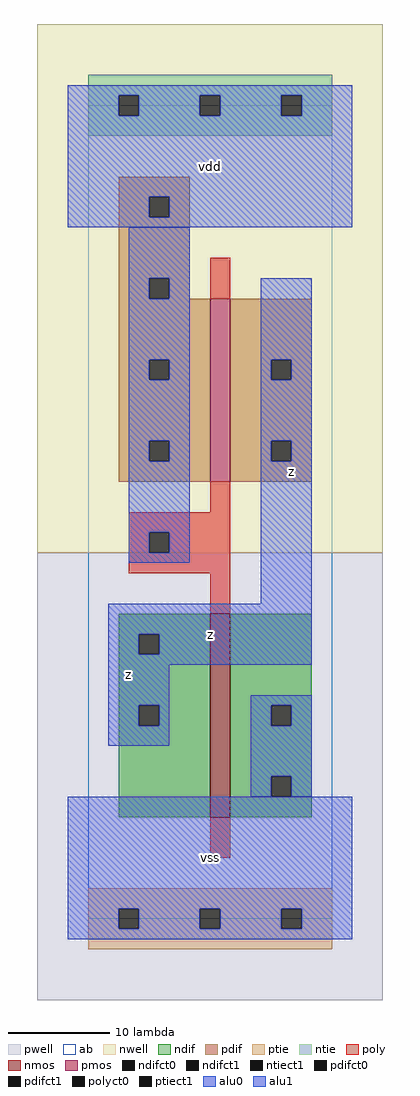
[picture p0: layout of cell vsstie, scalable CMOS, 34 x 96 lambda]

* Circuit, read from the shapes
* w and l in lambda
.subckt vsstie vdd vss z
M1 vss vdd z vss nfet w=20 l=2
M2 z vdd vdd vdd pfet w=18 l=2
.ends

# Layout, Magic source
magic
tech scmos
<< ab >>
rect 0 0 24 80
<< nwell >>
rect -5 36 29 88
<< pwell >>
rect -5 -8 29 36
<< poly >>
rect 12 61 14 65
rect 12 40 14 43
rect 4 38 14 40
rect 4 36 6 38
rect 8 36 14 38
rect 4 34 14 36
rect 12 30 14 34
rect 12 6 14 10
<< ndif >>
rect 3 28 12 30
rect 3 26 5 28
rect 7 26 12 28
rect 3 21 12 26
rect 3 19 5 21
rect 7 19 12 21
rect 3 10 12 19
rect 14 21 22 30
rect 14 19 18 21
rect 20 19 22 21
rect 14 14 22 19
rect 14 12 18 14
rect 20 12 22 14
rect 14 10 22 12
<< pdif >>
rect 3 71 10 73
rect 3 69 6 71
rect 8 69 10 71
rect 3 63 10 69
rect 3 61 6 63
rect 8 61 10 63
rect 3 55 12 61
rect 3 53 6 55
rect 8 53 12 55
rect 3 47 12 53
rect 3 45 6 47
rect 8 45 12 47
rect 3 43 12 45
rect 14 55 22 61
rect 14 53 18 55
rect 20 53 22 55
rect 14 47 22 53
rect 14 45 18 47
rect 20 45 22 47
rect 14 43 22 45
<< alu1 >>
rect -2 81 26 82
rect -2 79 3 81
rect 5 79 11 81
rect 13 79 19 81
rect 21 79 26 81
rect -2 71 26 79
rect -2 69 6 71
rect 8 69 26 71
rect -2 68 26 69
rect 17 55 22 63
rect 17 53 18 55
rect 20 53 22 55
rect 17 47 22 53
rect 17 45 18 47
rect 20 45 22 47
rect 17 31 22 45
rect 2 28 22 31
rect 2 26 5 28
rect 7 26 22 28
rect 2 25 22 26
rect 2 21 8 25
rect 2 19 5 21
rect 7 19 8 21
rect 2 17 8 19
rect -2 1 26 12
rect -2 -1 3 1
rect 5 -1 11 1
rect 13 -1 19 1
rect 21 -1 26 1
rect -2 -2 26 -1
<< ptie >>
rect 0 1 24 3
rect 0 -1 3 1
rect 5 -1 11 1
rect 13 -1 19 1
rect 21 -1 24 1
rect 0 -3 24 -1
<< ntie >>
rect 0 81 24 83
rect 0 79 3 81
rect 5 79 11 81
rect 13 79 19 81
rect 21 79 24 81
rect 0 77 24 79
<< nmos >>
rect 12 10 14 30
<< pmos >>
rect 12 43 14 61
<< polyct0 >>
rect 6 36 8 38
<< ndifct0 >>
rect 18 19 20 21
rect 18 12 20 14
<< ndifct1 >>
rect 5 26 7 28
rect 5 19 7 21
<< ntiect1 >>
rect 3 79 5 81
rect 11 79 13 81
rect 19 79 21 81
<< ptiect1 >>
rect 3 -1 5 1
rect 11 -1 13 1
rect 19 -1 21 1
<< pdifct0 >>
rect 6 61 8 63
rect 6 53 8 55
rect 6 45 8 47
<< pdifct1 >>
rect 6 69 8 71
rect 18 53 20 55
rect 18 45 20 47
<< alu0 >>
rect 4 63 10 68
rect 4 61 6 63
rect 8 61 10 63
rect 4 55 10 61
rect 4 53 6 55
rect 8 53 10 55
rect 4 47 10 53
rect 4 45 6 47
rect 8 45 10 47
rect 4 38 10 45
rect 4 36 6 38
rect 8 36 10 38
rect 4 35 10 36
rect 16 21 22 22
rect 16 19 18 21
rect 20 19 22 21
rect 16 14 22 19
rect 16 12 18 14
rect 20 12 22 14
<< labels >>
rlabel alu1 4 24 4 24 6 z
rlabel alu1 12 6 12 6 6 vss
rlabel alu1 12 28 12 28 6 z
rlabel alu1 12 74 12 74 6 vdd
rlabel alu1 20 44 20 44 6 z
<< end >>
